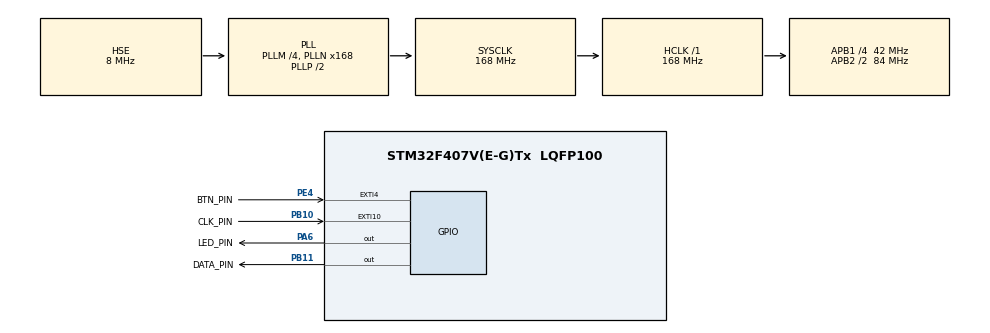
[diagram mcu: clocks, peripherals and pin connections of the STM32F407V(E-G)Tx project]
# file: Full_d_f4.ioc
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Mcu.Family=STM32F4
Mcu.Name=STM32F407V(E-G)Tx
Mcu.Package=LQFP100
NVIC.EXTI15_10_IRQn=true\:0\:0\:false\:false\:true\:true\:true\:true
NVIC.EXTI4_IRQn=true\:0\:0\:false\:false\:true\:true\:true\:true
NVIC.PriorityGroup=NVIC_PRIORITYGROUP_4
PA0-WKUP.Mode=SYS_WakeUp0
PA0-WKUP.Signal=SYS_WKUP
PA13.Mode=Trace_Asynchronous_SW
PA13.Signal=SYS_JTMS-SWDIO
PA14.Mode=Trace_Asynchronous_SW
PA14.Signal=SYS_JTCK-SWCLK
PA6.GPIO_Label=LED_PIN
PA6.PinState=GPIO_PIN_SET
PA6.Signal=GPIO_Output
PB10.GPIO_Label=CLK_PIN
PB10.GPIO_PuPd=GPIO_PULLUP
PB10.Signal=GPXTI10
PB11.GPIO_Label=DATA_PIN
PB11.GPIO_ModeDefaultOutputPP=GPIO_MODE_OUTPUT_OD
PB11.GPIO_PuPd=GPIO_PULLUP
PB11.GPIO_Speed=GPIO_SPEED_FREQ_HIGH
PB11.PinState=GPIO_PIN_SET
PB11.Signal=GPIO_Output
PB3.Mode=Trace_Asynchronous_SW
PB3.Signal=SYS_JTDO-SWO
PE4.GPIO_Label=BTN_PIN
PE4.GPIO_ModeDefaultEXTI=GPIO_MODE_IT_FALLING
PE4.GPIO_PuPd=GPIO_PULLUP
PE4.Signal=GPXTI4
PH0-OSC_IN.Mode=HSE-External-Oscillator
PH0-OSC_IN.Signal=RCC_OSC_IN
PH1-OSC_OUT.Mode=HSE-External-Oscillator
PH1-OSC_OUT.Signal=RCC_OSC_OUT
ProjectManager.HeapSize=0x200
ProjectManager.StackSize=0x400
ProjectManager.TargetToolchain=STM32CubeIDE
RCC.48MHZClocksFreq_Value=84000000
RCC.AHBFreq_Value=168000000
RCC.APB1CLKDivider=RCC_HCLK_DIV4
RCC.APB1Freq_Value=42000000
RCC.APB1TimFreq_Value=84000000
RCC.APB2CLKDivider=RCC_HCLK_DIV2
RCC.APB2Freq_Value=84000000
RCC.APB2TimFreq_Value=168000000
RCC.CortexFreq_Value=168000000
RCC.HCLKFreq_Value=168000000
RCC.HSE_VALUE=8000000
RCC.HSI_VALUE=16000000
RCC.LSE_VALUE=32768
RCC.PLLM=4
RCC.PLLN=168
RCC.PLLSourceVirtual=RCC_PLLSOURCE_HSE
RCC.SYSCLKFreq_VALUE=168000000
RCC.SYSCLKSource=RCC_SYSCLKSOURCE_PLLCLK
RCC.VCOOutputFreq_Value=336000000
board=custom

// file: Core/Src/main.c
/* USER CODE BEGIN Header */
/* USER CODE END Header */
#include "main.h"

/* USER CODE BEGIN Includes */
#include "Utility.h"
#include <stdbool.h>
/* USER CODE END Includes */

/* USER CODE BEGIN PTD */
#define BUS_PORT        GPIOB
#define CLK_PIN         GPIO_PIN_10
#define DATA_PIN        GPIO_PIN_11

#define BTN_PORT        GPIOE
#define BTN_PIN         GPIO_PIN_4  // Agora usando o PE4!
#define LED_PORT        GPIOA
#define LED_PIN         GPIO_PIN_6

#define TEMPO_BIT       20    // 20us (Tempo de meio pulso de clock)
#define NUM_BITS        8     //

#define MEU_ENDERECO    0x01
#define TARGET_ADDRESS  0x02
/* USER CODE END PTD */

/* USER CODE BEGIN PV */
volatile bool iniciar_envio = false;

// Buffer de 32bits
volatile uint32_t buffer_rx32 = 0;
volatile uint8_t bit_counter = 0;
volatile bool pacote_recebido = false;

volatile uint8_t video_addr = 0;
volatile uint8_t video_dado = 0;
volatile uint8_t video_chk = 0;

uint8_t array_tx[100];
uint8_t array_rx[100];
volatile uint8_t rx_index = 0; // Ponteiro de onde salvar o dado recebido
volatile uint32_t pacotes_com_sucesso = 0;
volatile uint32_t pacotes_com_erro = 0;
/* USER CODE END PV */

void SystemClock_Config(void);
static void MX_GPIO_Init(void);
/* USER CODE BEGIN PFP */
void envia_pacote(uint8_t addr, uint8_t dado);
int handshake(void);
/* USER CODE END PFP */

/* USER CODE BEGIN 0 */
void envia_pacote(uint8_t addr, uint8_t dado) {
    // 1. Calcula o Checksum (Soma simples do endereço + dado)
    uint8_t checksum = addr + dado;

    // 2. Calcula a Paridade Par (XOR de todos os bits de Addr e Dado)
    uint8_t paridade = 0;
    uint16_t temp_dados = (addr << 8) | dado;
    for(int i = 0; i < 12; i++) {
        if((temp_dados >> i) & 1) paridade ^= 1;
    }

    // 3. Empacota tudo em uma variável de 32 bits
    uint32_t frame = 0;
    frame |= (0UL)             << 0;  // Start Bit (Sempre 0)
    frame |= (addr & 0x0F)     << 1;  // Endereço (4 bits)
    frame |= (dado & 0xFF)     << 5;  // Dado (8 bits)
    frame |= (paridade & 0x01) << 13; // Paridade (1 bit)
    frame |= (checksum & 0xFF) << 14; // Checksum (8 bits)
    frame |= (1UL)             << 22; // Stop Bit (Sempre 1)

    // 4. Prepara o pino de Clock
    GPIO_InitTypeDef GPIO_InitStruct = {0};
    GPIO_InitStruct.Pin = CLK_PIN;
    GPIO_InitStruct.Mode = GPIO_MODE_OUTPUT_OD;
    GPIO_InitStruct.Pull = GPIO_PULLUP;
    GPIO_InitStruct.Speed = GPIO_SPEED_FREQ_HIGH;
    HAL_GPIO_Init(BUS_PORT, &GPIO_InitStruct);

    // 5. Envia os 23 bits
    for(uint8_t i = 0; i < 23; i++) {
        HAL_GPIO_WritePin(BUS_PORT, CLK_PIN, GPIO_PIN_RESET);
        Delay_us(TEMPO_BIT);

        // Lê o bit 'i' do pacote e joga no fio
        if((frame >> i) & 1) HAL_GPIO_WritePin(BUS_PORT, DATA_PIN, GPIO_PIN_SET);
        else                 HAL_GPIO_WritePin(BUS_PORT, DATA_PIN, GPIO_PIN_RESET);
        Delay_us(TEMPO_BIT);

        HAL_GPIO_WritePin(BUS_PORT, CLK_PIN, GPIO_PIN_SET);
        Delay_us(TEMPO_BIT);
    }

    // Libera o barramento e devolve o CLK para Entrada
    HAL_GPIO_WritePin(BUS_PORT, DATA_PIN, GPIO_PIN_SET);
    GPIO_InitStruct.Mode = GPIO_MODE_IT_RISING;
    HAL_GPIO_Init(BUS_PORT, &GPIO_InitStruct);
}

// ==============================================================
// INTERRUPÇÕES: Botão e Clock
// ==============================================================
void HAL_GPIO_EXTI_Callback(uint16_t GPIO_Pin) {

    // Gatilho do Botão (Dispara o envio)
	if (GPIO_Pin == BTN_PIN) {
		static uint32_t ultimo_clique = 0; // Guarda o tempo do último clique válido

		// Debounce
		if (HAL_GetTick() - ultimo_clique > 250) {
			iniciar_envio = true;
			ultimo_clique = HAL_GetTick(); // Atualiza o cronômetro
		}
	}

    // Gatilho do Clock (Recebe os dados)
    if (GPIO_Pin == CLK_PIN) {
        // O clock subiu! Lemos o estado do pino de dados imediatamente
		uint8_t bit_lido = (HAL_GPIO_ReadPin(BUS_PORT, DATA_PIN) == GPIO_PIN_SET) ? 1 : 0;

		if (bit_lido) buffer_rx32 |= (1UL << bit_counter);
		else          buffer_rx32 &= ~(1UL << bit_counter);

		bit_counter++;

		if (bit_counter == 23) { // <-- Agora são 23 bits!
			bit_counter = 0;
			pacote_recebido = true;
		}
    }
}
/* USER CODE END 0 */

int main(void)
{

  /* MCU Configuration--------------------------------------------------------*/

  /* Reset of all peripherals, Initializes the Flash interface and the Systick. */
  HAL_Init();

  /* Configure the system clock */
  SystemClock_Config();

  /* Initialize all configured peripherals */
  MX_GPIO_Init();

  /* USER CODE BEGIN 2 */
    Utility_Init();

    // Preenche a nossa lista para envio com dados (0, 1, 2... 99)
	for(int i = 0; i < 100; i++) {
		array_tx[i] = i;
	}

    // Garante que o barramento DATA nasce livre (Open-Drain solto = 1)
    HAL_GPIO_WritePin(BUS_PORT, DATA_PIN, GPIO_PIN_SET);
    HAL_GPIO_WritePin(LED_PORT, LED_PIN, GPIO_PIN_SET); // LED Apagado
    /* USER CODE END 2 */

    /* Infinite loop */
	  /* USER CODE BEGIN WHILE */
	  while (1)
	  {
		// ==========================================
		// MODO TRANSMISSÃO (MASTER)
		// ==========================================
		if (iniciar_envio) {
			iniciar_envio = false;

			// Zera os contadores para o vídeo
			pacotes_com_sucesso = 0;
			pacotes_com_erro = 0;

			// 100 pacotes
			for (int i = 0; i < 100; i++) {
				HAL_NVIC_DisableIRQ(EXTI15_10_IRQn);
				envia_pacote(TARGET_ADDRESS, array_tx[i]); // Envia o dado da lista
				__HAL_GPIO_EXTI_CLEAR_IT(CLK_PIN);
				HAL_NVIC_EnableIRQ(EXTI15_10_IRQn);

				int verifica = handshake();

				if (verifica) {
					pacotes_com_sucesso++;
					HAL_GPIO_TogglePin(LED_PORT, LED_PIN); // Pisca indicando tráfego saudável
				} else {
					pacotes_com_erro++;
				}

				Delay_ms(2); // Pausa de segurança entre pacotes
			}

			// Final nos LEDs
			if (pacotes_com_erro > 0) {
				HAL_GPIO_WritePin(LED_PORT, LED_PIN, GPIO_PIN_RESET); // Erro (Aceso)
			} else {
				HAL_GPIO_WritePin(LED_PORT, LED_PIN, GPIO_PIN_SET);   // 100% Sucesso (Apagado)
			}
		}

		// ==========================================
		// MODO RECEPÇÃO E VALIDAÇÃO EXTREMA (SLAVE)
		// ==========================================
		if (pacote_recebido) {
			pacote_recebido = false;

			// 1. Desempacota
			uint8_t rx_start = (buffer_rx32 >> 0) & 0x01;
			uint8_t rx_addr  = (buffer_rx32 >> 1) & 0x0F;
			uint8_t rx_dado  = (buffer_rx32 >> 5) & 0xFF;
			uint8_t rx_par   = (buffer_rx32 >> 13) & 0x01;
			uint8_t rx_chk   = (buffer_rx32 >> 14) & 0xFF;
			uint8_t rx_stop  = (buffer_rx32 >> 22) & 0x01;

			video_addr = rx_addr;
			video_dado = rx_dado;
			video_chk = rx_chk;

			buffer_rx32 = 0;

			// 2. Refaz os cálculos matemáticos
			uint8_t calc_chk = rx_addr + rx_dado;
			uint8_t calc_par = 0;
			uint16_t temp_dados = (rx_addr << 8) | rx_dado;
			for(int i = 0; i < 12; i++) {
				if((temp_dados >> i) & 1) calc_par ^= 1;
			}

			// 3. Validação
			if (rx_start == 0 && rx_stop == 1) {
				if (rx_addr == MEU_ENDERECO) {
					if (rx_chk == calc_chk && rx_par == calc_par) {

						// --- DADO ÍNTEGRO! ---
						// Guarda na nossa lista e avança o ponteiro
						array_rx[rx_index] = rx_dado;
						rx_index++;
						if (rx_index >= 100) rx_index = 0; // Proteção para não estourar a memória

						// Ação remota: Pisca o LED
						HAL_GPIO_TogglePin(LED_PORT, LED_PIN);

						// O SLAVE RESPONDE O HANDSHAKE!
						HAL_NVIC_DisableIRQ(EXTI15_10_IRQn);
						envia_pacote(TARGET_ADDRESS, 0xCC);
						__HAL_GPIO_EXTI_CLEAR_IT(CLK_PIN);
						HAL_NVIC_EnableIRQ(EXTI15_10_IRQn);
					}
				}
			}
		}
		/* USER CODE END WHILE */
	  }

}

void SystemClock_Config(void)
{
  RCC_OscInitTypeDef RCC_OscInitStruct = {0};
  RCC_ClkInitTypeDef RCC_ClkInitStruct = {0};

  /** Configure the main internal regulator output voltage
  */
  __HAL_RCC_PWR_CLK_ENABLE();
  __HAL_PWR_VOLTAGESCALING_CONFIG(PWR_REGULATOR_VOLTAGE_SCALE1);

  /** Initializes the RCC Oscillators according to the specified parameters
  * in the RCC_OscInitTypeDef structure.
  */
  RCC_OscInitStruct.OscillatorType = RCC_OSCILLATORTYPE_HSE;
  RCC_OscInitStruct.HSEState = RCC_HSE_ON;
  RCC_OscInitStruct.PLL.PLLState = RCC_PLL_ON;
  RCC_OscInitStruct.PLL.PLLSource = RCC_PLLSOURCE_HSE;
  RCC_OscInitStruct.PLL.PLLM = 4;
  RCC_OscInitStruct.PLL.PLLN = 168;
  RCC_OscInitStruct.PLL.PLLP = RCC_PLLP_DIV2;
  RCC_OscInitStruct.PLL.PLLQ = 4;
  if (HAL_RCC_OscConfig(&RCC_OscInitStruct) != HAL_OK)
  {
    Error_Handler();
  }

  /** Initializes the CPU, AHB and APB buses clocks
  */
  RCC_ClkInitStruct.ClockType = RCC_CLOCKTYPE_HCLK|RCC_CLOCKTYPE_SYSCLK
                              |RCC_CLOCKTYPE_PCLK1|RCC_CLOCKTYPE_PCLK2;
  RCC_ClkInitStruct.SYSCLKSource = RCC_SYSCLKSOURCE_PLLCLK;
  RCC_ClkInitStruct.AHBCLKDivider = RCC_SYSCLK_DIV1;
  RCC_ClkInitStruct.APB1CLKDivider = RCC_HCLK_DIV4;
  RCC_ClkInitStruct.APB2CLKDivider = RCC_HCLK_DIV2;

  if (HAL_RCC_ClockConfig(&RCC_ClkInitStruct, FLASH_LATENCY_5) != HAL_OK)
  {
    Error_Handler();
  }
}

static void MX_GPIO_Init(void)
{
  GPIO_InitTypeDef GPIO_InitStruct = {0};

  /* GPIO Ports Clock Enable */
  __HAL_RCC_GPIOE_CLK_ENABLE();
  __HAL_RCC_GPIOH_CLK_ENABLE();
  __HAL_RCC_GPIOA_CLK_ENABLE();
  __HAL_RCC_GPIOB_CLK_ENABLE();

  /*Configure GPIO pin Output Level */
  HAL_GPIO_WritePin(LED_PIN_GPIO_Port, LED_PIN_Pin, GPIO_PIN_SET);

  /*Configure GPIO pin Output Level */
  HAL_GPIO_WritePin(DATA_PIN_GPIO_Port, DATA_PIN_Pin, GPIO_PIN_SET);

  /*Configure GPIO pin : BTN_PIN_Pin */
  GPIO_InitStruct.Pin = BTN_PIN_Pin;
  GPIO_InitStruct.Mode = GPIO_MODE_IT_FALLING;
  GPIO_InitStruct.Pull = GPIO_PULLUP;
  HAL_GPIO_Init(BTN_PIN_GPIO_Port, &GPIO_InitStruct);

  /*Configure GPIO pin : LED_PIN_Pin */
  GPIO_InitStruct.Pin = LED_PIN_Pin;
  GPIO_InitStruct.Mode = GPIO_MODE_OUTPUT_PP;
  GPIO_InitStruct.Pull = GPIO_NOPULL;
  GPIO_InitStruct.Speed = GPIO_SPEED_FREQ_LOW;
  HAL_GPIO_Init(LED_PIN_GPIO_Port, &GPIO_InitStruct);

  /*Configure GPIO pin : CLK_PIN_Pin */
  GPIO_InitStruct.Pin = CLK_PIN_Pin;
  GPIO_InitStruct.Mode = GPIO_MODE_IT_RISING;
  GPIO_InitStruct.Pull = GPIO_PULLUP;
  HAL_GPIO_Init(CLK_PIN_GPIO_Port, &GPIO_InitStruct);

  /*Configure GPIO pin : DATA_PIN_Pin */
  GPIO_InitStruct.Pin = DATA_PIN_Pin;
  GPIO_InitStruct.Mode = GPIO_MODE_OUTPUT_OD;
  GPIO_InitStruct.Pull = GPIO_PULLUP;
  GPIO_InitStruct.Speed = GPIO_SPEED_FREQ_HIGH;
  HAL_GPIO_Init(DATA_PIN_GPIO_Port, &GPIO_InitStruct);

  /* EXTI interrupt init*/
  HAL_NVIC_SetPriority(EXTI4_IRQn, 0, 0);
  HAL_NVIC_EnableIRQ(EXTI4_IRQn);

  HAL_NVIC_SetPriority(EXTI15_10_IRQn, 0, 0);
  HAL_NVIC_EnableIRQ(EXTI15_10_IRQn);

}

/* USER CODE BEGIN 4 */
// ==============================================================
// FUNÇÃO: Handshake (Exatamente a sua lógica da aula1)
// ==============================================================
int handshake(void) {
    uint32_t tempo_inicio = 0;

    // Aguarda no máximo ~1000ms
    while (tempo_inicio < 1000) {

        if (pacote_recebido) {
            pacote_recebido = false;

            // Extrai só o que importa: Endereço e Dado
            uint8_t rx_addr  = (buffer_rx32 >> 1) & 0x0F;
            uint8_t rx_dado  = (buffer_rx32 >> 5) & 0xFF;
            buffer_rx32 = 0;

            // Se for para meu endereco e for 0xCC
            if (rx_addr == MEU_ENDERECO && rx_dado == 0xCC) {
                return 1;
            }
        }
        tempo_inicio++;
        Delay_ms(1);
    }

    return 0; // Timeout
}
/* USER CODE END 4 */

void Error_Handler(void)
{
}
